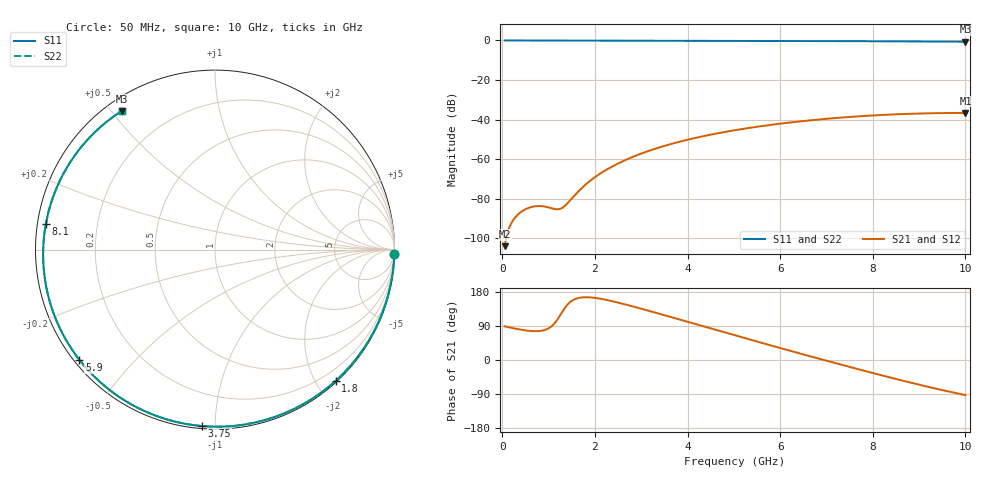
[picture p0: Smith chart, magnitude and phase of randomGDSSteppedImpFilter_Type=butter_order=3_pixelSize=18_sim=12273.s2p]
! freq	dB(S11)	phase(S11)	dB(S12)	phase(S12)
!  dB(S21)	phase(S21)	dB(S22)	phase(S22)
!S-par simulation data
#  GHz  S  DB  R 50
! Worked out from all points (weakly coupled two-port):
!   200 points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, 50 MHz to 10 GHz, reference 50 ohm
!   highest |S21| = -36.60 dB at 10 GHz (marker M1); lowest = -103.9 dB at 50 MHz (marker M2)
!   lowest |S11| = -0.6 dB at 10 GHz (marker M3), VSWR 27.83, Z = 2.31 + j26.6 ohm
!   |S11| at or under -10 dB: nowhere
!   |S22| runs from -0.6 to 0.0 dB; largest |S21 - S12| = 0
!   S11 on the Smith chart (normalised r, x): 50 MHz: 0, -84; 1.8 GHz: 0.02, -2.28; 3.75 GHz: 0.01, -0.93; 5.9 GHz: 0.02, -0.35; 8.1 GHz: 0.02, +0.07; 10 GHz: 0.05, +0.53
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0.05  -0.00 -1.4  -103.90 89.0  -103.90 89.0  -0.00 -1.4
0.4  -0.02 -10.7  -86.68 80.1  -86.68 80.1  -0.02 -10.8
0.75  -0.03 -20.1  -83.67 76.1  -83.67 76.1  -0.03 -20.1
1.5  -0.05 -39.7  -79.84 156.2  -79.84 156.2  -0.05 -39.7
1.75  -0.06 -46.1  -73.80 165.5  -73.80 165.5  -0.06 -46.1
1.8  -0.06 -47.4  -72.76 165.7  -72.76 165.7  -0.06 -47.4
2.1  -0.07 -54.9  -67.46 162.0  -67.46 162.0  -0.07 -54.9
2.45  -0.08 -63.6  -62.73 153.0  -62.73 153.0  -0.08 -63.6
2.9  -0.09 -74.4  -58.04 138.8  -58.04 138.8  -0.09 -74.5
3.4  -0.11 -86.2  -53.97 121.7  -53.97 121.7  -0.11 -86.2
3.75  -0.12 -94.2  -51.62 109.5  -51.62 109.5  -0.12 -94.3
4.4  -0.15 -108.7  -48.05 86.7  -48.05 86.7  -0.15 -108.8
5.05  -0.18 -122.8  -45.22 64.1  -45.22 64.1  -0.18 -122.9
5.9  -0.23 -140.9  -42.33 35.0  -42.33 35.0  -0.23 -141.0
6.7  -0.29 -157.8  -40.23 8.1  -40.23 8.1  -0.29 -157.9
7.4  -0.35 -172.9  -38.80 -15.0  -38.80 -15.0  -0.35 -173.0
8.1  -0.42 171.5  -37.74 -37.6  -37.74 -37.6  -0.42 171.4
8.35  -0.44 165.7  -37.45 -45.4  -37.45 -45.4  -0.44 165.6
8.8  -0.49 155.0  -37.04 -59.2  -37.04 -59.2  -0.49 154.9
9.2  -0.53 145.1  -36.79 -70.9  -36.79 -70.9  -0.53 145.0
9.6  -0.58 134.8  -36.65 -82.1  -36.65 -82.1  -0.58 134.6
10  -0.62 123.9  -36.60 -92.7  -36.60 -92.7  -0.62 123.8
